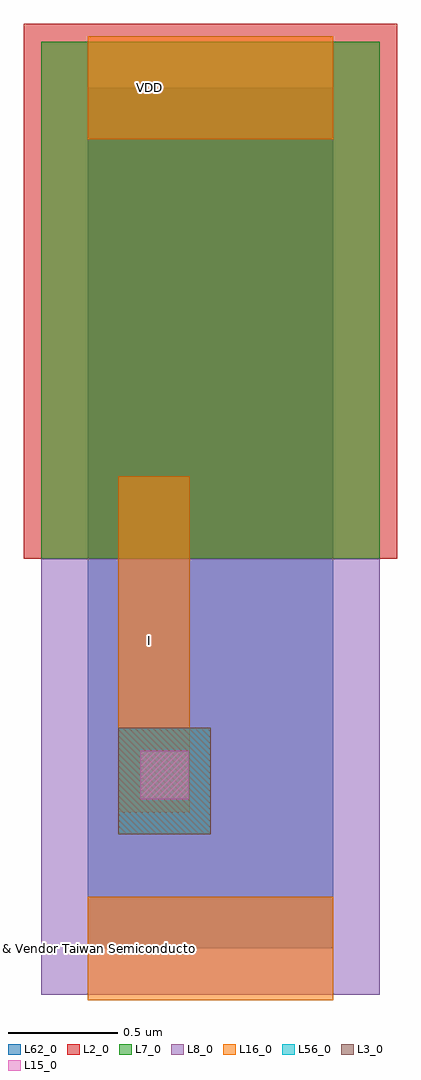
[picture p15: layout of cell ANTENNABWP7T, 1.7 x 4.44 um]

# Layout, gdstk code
import gdstk
lib = gdstk.Library(unit=1e-6, precision=1e-09)
def R(c, l, rs):  # rectangles x0, y0, x1, y1
    for r in rs: c.add(gdstk.rectangle(r[:2], r[2:], *l))
L2_0 = (2, 0)
L3_0 = (3, 0)
L7_0 = (7, 0)
L8_0 = (8, 0)
L15_0 = (15, 0)
L16_0 = (16, 0)
L56_0 = (56, 0)
L62_0 = (62, 0)

antennabwp7t = lib.new_cell('ANTENNABWP7T')
R(antennabwp7t, L2_0, [(-0.29,1.775,1.41,4.21)])
R(antennabwp7t, L3_0, [(0.14,0.52,0.56,1.005)])
R(antennabwp7t, L7_0, [(-0.21,1.775,1.33,4.13)])
R(antennabwp7t, L8_0, [(-0.21,-0.21,1.33,1.775)])
R(antennabwp7t, L15_0, [(0.24,0.68,0.46,0.9)])
R(antennabwp7t, L16_0, [(0,-0.235,1.12,0.235), (0.14,0.62,0.465,2.15), (0,3.685,1.12,4.155)])
R(antennabwp7t, L56_0, [(0.14,0.52,0.56,1.005)])
R(antennabwp7t, L62_0, [(0,0,1.12,3.92)])
antennabwp7t.add(gdstk.Label('& Vendor Taiwan Semiconductor Manufacturing Corp.', (0,0), layer=63, texttype=63))
antennabwp7t.add(gdstk.Label('& Product tcb018gbwp7t', (0,0), layer=63, texttype=63))
antennabwp7t.add(gdstk.Label('& Version 270a', (0,0), layer=63, texttype=63))
antennabwp7t.add(gdstk.Label('& Metric 4.390', (0,0), layer=63, texttype=63))
antennabwp7t.add(gdstk.Label('& Distributor TSMC', (0,0), layer=63, texttype=63))
antennabwp7t.add(gdstk.Label('& SerialNumber 000000', (0,0), layer=63, texttype=63))
antennabwp7t.add(gdstk.Label('& _Instance_tag ANTENNABWP7T', (0,0), layer=63, texttype=63))
antennabwp7t.add(gdstk.Label('& Vendor Taiwan Semiconductor Manufacturing Corp.', (0,0), layer=11, texttype=0))
antennabwp7t.add(gdstk.Label('& Product tcb018gbwp7t', (0,0), layer=11, texttype=0))
antennabwp7t.add(gdstk.Label('& Version 270a', (0,0), layer=11, texttype=0))
antennabwp7t.add(gdstk.Label('& Metric 4.390', (0,0), layer=11, texttype=0))
antennabwp7t.add(gdstk.Label('& Distributor TSMC', (0,0), layer=11, texttype=0))
antennabwp7t.add(gdstk.Label('& SerialNumber 000000', (0,0), layer=11, texttype=0))
antennabwp7t.add(gdstk.Label('& _Instance_tag ANTENNABWP7T', (0,0), layer=11, texttype=0))
antennabwp7t.add(gdstk.Label('ANTENNABWP7T', (0,0), layer=59, texttype=0))
antennabwp7t.add(gdstk.Label('VSS', (0.28,0), layer=40, texttype=0))
antennabwp7t.add(gdstk.Label('I', (0.28,1.4), layer=40, texttype=0))
antennabwp7t.add(gdstk.Label('VDD', (0.28,3.92), layer=40, texttype=0))

lib.write_gds('ANTENNABWP7T.gds')
